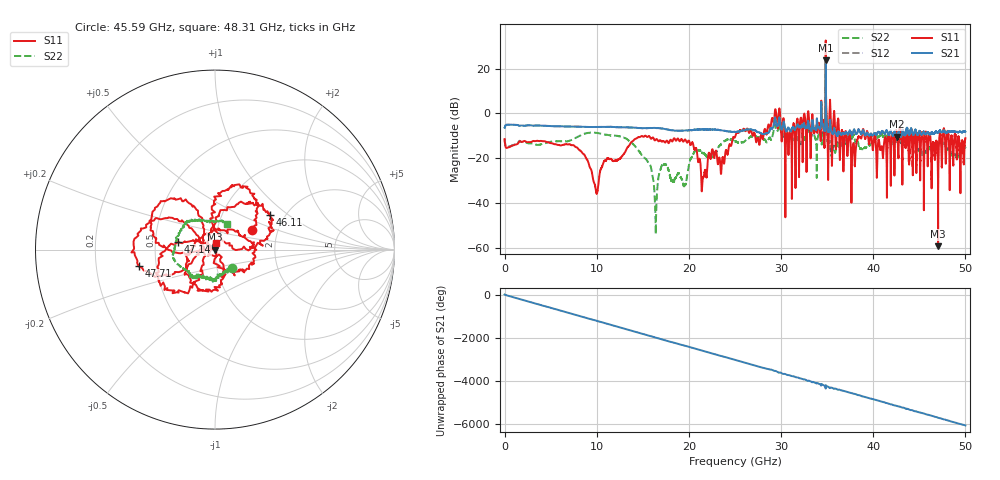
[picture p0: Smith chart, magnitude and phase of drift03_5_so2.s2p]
!Created with skrf (http://scikit-rf.org).
# Hz S RI R 50.0
!freq ReS11 ImS11 ReS21 ImS21 ReS12 ImS12 ReS22 ImS22
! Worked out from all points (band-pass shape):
!   10001 points, 300 kHz to 50 GHz, reference 50 ohm
!   highest |S21| = 23.63 dB at 34.85 GHz (marker M1); lowest = -10.4 dB at 42.56 GHz (marker M2)
!   |S21| within 3 dB of the highest: 34.84357 GHz to 34.84654 GHz (2.972 MHz wide, 0.00853 % of centre)
!   lowest |S11| = -59.2 dB at 47.04 GHz (marker M3), VSWR 1.00, Z = 50 - j0.108 ohm
!   |S11| at or under -10 dB: start of sweep to 15.22 GHz; 15.33 GHz to 25.05 GHz (9.727 GHz wide, 48.2 % of centre); 40.22 GHz to 41.66 GHz (1.442 GHz wide, 3.52 % of centre) (the widest 3 of 57)
!   |S22| runs from -53.8 to 14.8 dB; largest |S21 - S12| = 2.1
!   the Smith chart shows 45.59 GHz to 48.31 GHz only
!   S11 on the Smith chart (normalised r, x): 45.59 GHz: 1.46, +0.34; 46.11 GHz: 1.67, +0.74; 47.14 GHz: 0.65, +0.06; 47.71 GHz: 0.40, -0.09; 48.31 GHz: 1.01, +0.07
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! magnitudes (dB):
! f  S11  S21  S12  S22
! 300 kHz  -11.5  -6.4  -6.4  -11.4
! 8.335 GHz  -17.1  -6.0  -6.0  -9.6
! 9.955 GHz  -35.4  -6.1  -6.1  -8.7
! 11 GHz  -21.0  -6.1  -6.0  -9.5
! 16.67 GHz  -12.4  -6.6  -6.5  -29.1
! 19.53 GHz  -11.8  -7.7  -7.7  -32.0
! 20.22 GHz  -13.9  -7.5  -7.5  -20.1
! 21.56 GHz  -28.4  -7.2  -7.2  -17.7
! 25 GHz  -10.6  -8.3  -8.2  -12.5
! 33.34 GHz  -3.8  -6.9  -6.8  -9.4
! 34.85 GHz  32.5  23.6  23.5  14.8
! 37.83 GHz  -13.5  -8.3  -8.4  -9.9
! 39.08 GHz  -10.7  -9.5  -9.6  -15.2
! 41.67 GHz  -9.8  -9.5  -9.5  -11.4
! 42.56 GHz  -8.5  -10.4  -10.5  -13.1
! 45.59 GHz  -12.7  -8.9  -8.9  -17.2
! 46.11 GHz  -8.9  -9.3  -9.2  -15.6
! 47.04 GHz  -59.2  -8.4  -8.6  -12.8
! 47.14 GHz  -13.5  -8.0  -8.1  -12.5
! 47.71 GHz  -7.2  -7.8  -7.7  -13.1
! 48.31 GHz  -28.8  -8.3  -8.2  -16.2
! 50 GHz  -11.1  -8.2  -8.2  -15.4
